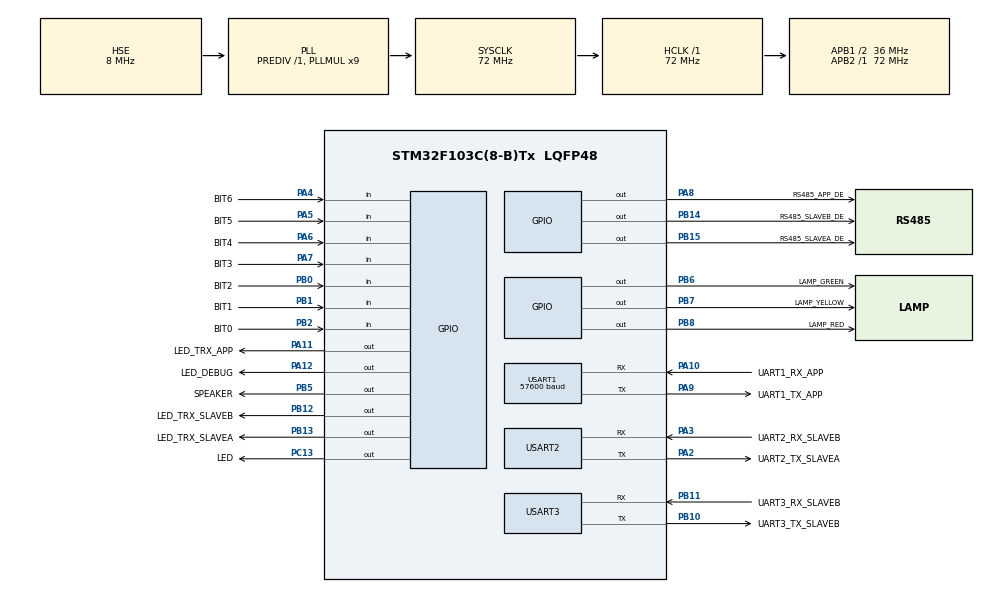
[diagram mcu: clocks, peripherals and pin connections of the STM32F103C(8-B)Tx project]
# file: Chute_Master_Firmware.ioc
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Dma.Request0=USART2_RX
Dma.Request1=USART3_RX
Dma.Request2=USART2_TX
Dma.Request3=USART3_TX
Dma.USART2_RX.0.Direction=DMA_PERIPH_TO_MEMORY
Dma.USART2_RX.0.Instance=DMA1_Channel6
Dma.USART2_RX.0.MemDataAlignment=DMA_MDATAALIGN_BYTE
Dma.USART2_RX.0.MemInc=DMA_MINC_ENABLE
Dma.USART2_RX.0.Mode=DMA_NORMAL
Dma.USART2_RX.0.PeriphDataAlignment=DMA_PDATAALIGN_BYTE
Dma.USART2_RX.0.PeriphInc=DMA_PINC_DISABLE
Dma.USART2_RX.0.Priority=DMA_PRIORITY_LOW
Dma.USART2_TX.2.Direction=DMA_MEMORY_TO_PERIPH
Dma.USART2_TX.2.Instance=DMA1_Channel7
Dma.USART2_TX.2.MemDataAlignment=DMA_MDATAALIGN_BYTE
Dma.USART2_TX.2.MemInc=DMA_MINC_ENABLE
Dma.USART2_TX.2.Mode=DMA_NORMAL
Dma.USART2_TX.2.PeriphDataAlignment=DMA_PDATAALIGN_BYTE
Dma.USART2_TX.2.PeriphInc=DMA_PINC_DISABLE
Dma.USART2_TX.2.Priority=DMA_PRIORITY_LOW
Dma.USART3_RX.1.Direction=DMA_PERIPH_TO_MEMORY
Dma.USART3_RX.1.Instance=DMA1_Channel3
Dma.USART3_RX.1.MemDataAlignment=DMA_MDATAALIGN_BYTE
Dma.USART3_RX.1.MemInc=DMA_MINC_ENABLE
Dma.USART3_RX.1.Mode=DMA_NORMAL
Dma.USART3_RX.1.PeriphDataAlignment=DMA_PDATAALIGN_BYTE
Dma.USART3_RX.1.PeriphInc=DMA_PINC_DISABLE
Dma.USART3_RX.1.Priority=DMA_PRIORITY_LOW
Dma.USART3_TX.3.Direction=DMA_MEMORY_TO_PERIPH
Dma.USART3_TX.3.Instance=DMA1_Channel2
Dma.USART3_TX.3.MemDataAlignment=DMA_MDATAALIGN_BYTE
Dma.USART3_TX.3.MemInc=DMA_MINC_ENABLE
Dma.USART3_TX.3.Mode=DMA_NORMAL
Dma.USART3_TX.3.PeriphDataAlignment=DMA_PDATAALIGN_BYTE
Dma.USART3_TX.3.PeriphInc=DMA_PINC_DISABLE
Dma.USART3_TX.3.Priority=DMA_PRIORITY_LOW
Mcu.Family=STM32F1
Mcu.Name=STM32F103C(8-B)Tx
Mcu.Package=LQFP48
NVIC.DMA1_Channel2_IRQn=true\:0\:0\:false\:false\:true\:false\:true\:true
NVIC.DMA1_Channel3_IRQn=true\:0\:0\:false\:false\:true\:false\:true\:true
NVIC.DMA1_Channel6_IRQn=true\:0\:0\:false\:false\:true\:false\:true\:true
NVIC.DMA1_Channel7_IRQn=true\:0\:0\:false\:false\:true\:false\:true\:true
NVIC.PriorityGroup=NVIC_PRIORITYGROUP_4
NVIC.TIM1_UP_IRQn=true\:0\:0\:false\:false\:true\:true\:true\:true
NVIC.TIM2_IRQn=true\:0\:0\:false\:false\:true\:true\:true\:true
NVIC.USART1_IRQn=true\:0\:0\:false\:false\:true\:true\:true\:true
NVIC.USART2_IRQn=true\:0\:0\:false\:false\:true\:false\:true\:true
NVIC.USART3_IRQn=true\:0\:0\:false\:false\:true\:false\:true\:true
PA10.GPIO_Label=UART1_RX_APP
PA10.Mode=Asynchronous
PA10.Signal=USART1_RX
PA11.GPIO_Label=LED_TRX_APP
PA11.GPIO_Speed=GPIO_SPEED_FREQ_LOW
PA11.Signal=GPIO_Output
PA12.GPIO_Label=LED_DEBUG
PA12.Signal=GPIO_Output
PA13.Mode=Serial_Wire
PA13.Signal=SYS_JTMS-SWDIO
PA14.Mode=Serial_Wire
PA14.Signal=SYS_JTCK-SWCLK
PA2.GPIO_Label=UART2_TX_SLAVEA
PA2.Mode=Asynchronous
PA2.Signal=USART2_TX
PA3.GPIO_Label=UART2_RX_SLAVEB
PA3.Mode=Asynchronous
PA3.Signal=USART2_RX
PA4.GPIO_Label=BIT6
PA4.GPIO_PuPd=GPIO_PULLUP
PA4.Signal=GPIO_Input
PA5.GPIO_Label=BIT5
PA5.GPIO_PuPd=GPIO_PULLUP
PA5.Signal=GPIO_Input
PA6.GPIO_Label=BIT4
PA6.GPIO_PuPd=GPIO_PULLUP
PA6.Signal=GPIO_Input
PA7.GPIO_Label=BIT3
PA7.GPIO_PuPd=GPIO_PULLUP
PA7.Signal=GPIO_Input
PA8.GPIO_Label=RS485_APP_DE
PA8.GPIO_Speed=GPIO_SPEED_FREQ_HIGH
PA8.Signal=GPIO_Output
PA9.GPIO_Label=UART1_TX_APP
PA9.Mode=Asynchronous
PA9.Signal=USART1_TX
PB0.GPIO_Label=BIT2
PB0.GPIO_PuPd=GPIO_PULLUP
PB0.Signal=GPIO_Input
PB1.GPIO_Label=BIT1
PB1.GPIO_PuPd=GPIO_PULLUP
PB1.Signal=GPIO_Input
PB10.GPIO_Label=UART3_TX_SLAVEB
PB10.Mode=Asynchronous
PB10.Signal=USART3_TX
PB11.GPIO_Label=UART3_RX_SLAVEB
PB11.Mode=Asynchronous
PB11.Signal=USART3_RX
PB12.GPIO_Label=LED_TRX_SLAVEB
PB12.Signal=GPIO_Output
PB13.GPIO_Label=LED_TRX_SLAVEA
PB13.Signal=GPIO_Output
PB14.GPIO_Label=RS485_SLAVEB_DE
PB14.GPIO_Speed=GPIO_SPEED_FREQ_HIGH
PB14.Signal=GPIO_Output
PB15.GPIO_Label=RS485_SLAVEA_DE
PB15.GPIO_Speed=GPIO_SPEED_FREQ_HIGH
PB15.Signal=GPIO_Output
PB2.GPIO_Label=BIT0
PB2.GPIO_PuPd=GPIO_PULLUP
PB2.Signal=GPIO_Input
PB5.GPIO_Label=SPEAKER
PB5.Signal=GPIO_Output
PB6.GPIO_Label=LAMP_GREEN
PB6.Signal=GPIO_Output
PB7.GPIO_Label=LAMP_YELLOW
PB7.Signal=GPIO_Output
PB8.GPIO_Label=LAMP_RED
PB8.Signal=GPIO_Output
PC13-TAMPER-RTC.GPIO_Label=LED
PC13-TAMPER-RTC.Signal=GPIO_Output
PD0-OSC_IN.Mode=HSE-External-Oscillator
PD0-OSC_IN.Signal=RCC_OSC_IN
PD1-OSC_OUT.Mode=HSE-External-Oscillator
PD1-OSC_OUT.Signal=RCC_OSC_OUT
ProjectManager.HeapSize=0x200
ProjectManager.StackSize=0x400
ProjectManager.TargetToolchain=MDK-ARM V5.32
RCC.AHBFreq_Value=72000000
RCC.APB1CLKDivider=RCC_HCLK_DIV2
RCC.APB1Freq_Value=36000000
RCC.APB1TimFreq_Value=72000000
RCC.APB2Freq_Value=72000000
RCC.APB2TimFreq_Value=72000000
RCC.HCLKFreq_Value=72000000
RCC.PLLMUL=RCC_PLL_MUL9
RCC.PLLSourceVirtual=RCC_PLLSOURCE_HSE
RCC.SYSCLKFreq_VALUE=72000000
RCC.SYSCLKSource=RCC_SYSCLKSOURCE_PLLCLK
RCC.USBFreq_Value=72000000
TIM1.Period=999
TIM1.Prescaler=71
TIM2.Period=9999
TIM2.Prescaler=7199
USART1.BaudRate=57600
USART1.VirtualMode=VM_ASYNC
USART2.VirtualMode=VM_ASYNC
USART3.VirtualMode=VM_ASYNC
VP_TIM1_VS_ClockSourceINT.Mode=Internal
VP_TIM2_VS_ClockSourceINT.Mode=Internal
board=custom

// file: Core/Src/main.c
/* USER CODE BEGIN Header */
/**
  ******************************************************************************
  * @file           : main.c
  * @brief          : Main program body
  ******************************************************************************
  * @attention
  *
  * Copyright (c) 2025 STMicroelectronics.
  * All rights reserved.
  *
  * This software is licensed under terms that can be found in the LICENSE file
  * in the root directory of this software component.
  * If no LICENSE file comes with this software, it is provided AS-IS.
  *
  ******************************************************************************
  */
/* USER CODE END Header */
#include "main.h"

/* USER CODE BEGIN Includes */

	#include "user.h"

	#include "slave.h"

	#include "app.h"

	#include "string.h"

	#include "stdio.h"

/* USER CODE END Includes */

TIM_HandleTypeDef htim1;
TIM_HandleTypeDef htim2;

UART_HandleTypeDef huart1;
UART_HandleTypeDef huart2;
UART_HandleTypeDef huart3;
DMA_HandleTypeDef hdma_usart2_rx;
DMA_HandleTypeDef hdma_usart2_tx;
DMA_HandleTypeDef hdma_usart3_rx;
DMA_HandleTypeDef hdma_usart3_tx;

/* USER CODE BEGIN PV */

	uint32_t tick_debug = 0;

	uint8_t flag_an_debug = 0;

	volatile uint16_t auto_send = 0;
	uint16_t cycle_auto = 100;
	uint16_t ptr_autosend = 1;

	extern uint8_t TX_toSlave[3];

	extern uint32_t start_send_slave;

	uint32_t db_s = 0, db_i = 0;
	uint16_t db_cnt1 = 0;

	uint16_t db_miss = 0;
	float db_phantram = 0.0f;

	extern uint16_t cnt_flag_config;
	uint8_t TX_config_db[20];

	uint8_t mode_config = 0;

/* USER CODE END PV */

void SystemClock_Config(void);
static void MX_GPIO_Init(void);
static void MX_DMA_Init(void);
static void MX_TIM1_Init(void);
static void MX_USART1_UART_Init(void);
static void MX_USART2_UART_Init(void);
static void MX_USART3_UART_Init(void);
static void MX_TIM2_Init(void);

int main(void)
{

  /* MCU Configuration--------------------------------------------------------*/

  /* Reset of all peripherals, Initializes the Flash interface and the Systick. */
  HAL_Init();

  /* Configure the system clock */
  SystemClock_Config();

  /* Initialize all configured peripherals */
  MX_GPIO_Init();
  MX_DMA_Init();
  MX_TIM1_Init();
  MX_USART1_UART_Init();
  MX_USART2_UART_Init();
  MX_USART3_UART_Init();
  MX_TIM2_Init();
  /* USER CODE BEGIN 2 */

		Master_Init_Func();

		App_Init_Func(&vApp, &huart1);

		HAL_Delay(1500);

		Slave_Init_Func(pSlavePort);

		HAL_TIM_Base_Start_IT(&htim1);
		HAL_TIM_Base_Start_IT(&htim2);

  /* USER CODE END 2 */

  /* Infinite loop */
  while (1)
  {

    /* USER CODE BEGIN 3 */

		tick_debug++;

		Master_Process();

		Debug_Function();

////////		if(flag_an_debug == 1)
////////		{
////////			On_Mode_Send_Slave();
////////			uint8_t addr_arr[15];
////////			memset(addr_arr, ' ',15);
////////			sprintf((char*)addr_arr, "Dong chi so 0%d", 60);
////////
////////			TX_config_db[0] = 0x80 | (2 & 0x3F);
////////			for(uint8_t i=0; i<15; i++)
////////				TX_config_db[i+1] = addr_arr[i];
////////			TX_config_db[16] = mode_config; //0xA6;
////////			TX_config_db[17] = 0xA0;
////////			TX_config_db[18] = 0xA1;
////////			TX_config_db[19] = Cal_CheckSum(TX_config_db, 20);
////////
////////			HAL_UART_Transmit(List_Chute_Arr[2].phuart, TX_config_db, 20, HAL_MAX_DELAY);
////////
////////			On_Mode_Receive_Slave();
////////
////////			flag_an_debug = 0;
////////		}

////////		if(auto_send >= cycle_auto)
////////		{
////////			On_Mode_Send_Slave();
////////			//HAL_Delay(10);
////////			TX_toSlave[0] = (List_Chute_Arr[ptr_autosend].sl_status & SLAVE_STATE_MASK) | (ptr_autosend & 0x3F);
////////			TX_toSlave[1] = List_Chute_Arr[ptr_autosend].cnt_mess_tx;
////////			TX_toSlave[NUM_BYTE_SLAVE-1] = Cal_CheckSum(TX_toSlave, NUM_BYTE_SLAVE);
////////
////////			db_s = getMicroSecond();
////////			start_send_slave = getMicroSecond();
////////			HAL_UART_Transmit_DMA(List_Chute_Arr[ptr_autosend].phuart, TX_toSlave, NUM_BYTE_SLAVE);
////////
////////
////////			//HAL_UART_Transmit(List_Chute_Arr[1].phuart, TX_toSlave, NUM_BYTE_SLAVE, HAL_MAX_DELAY);
////////			//db_i = getMicroSecond() - db_s;
////////
////////			flag_flashLed_debug = true;
////////
////////			flag_wait_sending_slave = true;
////////			List_Chute_Arr[ptr_autosend].cnt_mess_tx++;
////////
////////			db_miss = List_Chute_Arr[ptr_autosend].cnt_mess_tx - 1 - List_Chute_Arr[ptr_autosend].cnt_mess_rx;
////////			db_phantram = (List_Chute_Arr[ptr_autosend].cnt_mess_rx*100)/List_Chute_Arr[ptr_autosend].cnt_mess_tx;
////////
////////			if(++ptr_autosend == NUMBER_SLAVE)
////////				ptr_autosend = 1;
////////
////////			flag_an_debug = 0;
////////			auto_send = 0;
////////		}

		Wait_Send_Slave();

//		db_miss = List_Chute_Arr[1].cnt_mess_tx - 1 - List_Chute_Arr[1].cnt_mess_rx;
//		db_phantram = (List_Chute_Arr[1].cnt_mess_rx*100)/List_Chute_Arr[1].cnt_mess_tx;
//		List_Chute_Arr[vSL_Ptr].cnt_mess_miss = List_Chute_Arr[vSL_Ptr].cnt_mess_tx - List_Chute_Arr[vSL_Ptr].cnt_mess_rx;
//		List_Chute_Arr[vSL_Ptr].ratio_miss = (float)(List_Chute_Arr[vSL_Ptr].cnt_mess_rx*100)/(float)List_Chute_Arr[vSL_Ptr].cnt_mess_tx;
  }
  /* USER CODE END 3 */
}

void SystemClock_Config(void)
{
  RCC_OscInitTypeDef RCC_OscInitStruct = {0};
  RCC_ClkInitTypeDef RCC_ClkInitStruct = {0};

  /** Initializes the RCC Oscillators according to the specified parameters
  * in the RCC_OscInitTypeDef structure.
  */
  RCC_OscInitStruct.OscillatorType = RCC_OSCILLATORTYPE_HSE;
  RCC_OscInitStruct.HSEState = RCC_HSE_ON;
  RCC_OscInitStruct.HSEPredivValue = RCC_HSE_PREDIV_DIV1;
  RCC_OscInitStruct.HSIState = RCC_HSI_ON;
  RCC_OscInitStruct.PLL.PLLState = RCC_PLL_ON;
  RCC_OscInitStruct.PLL.PLLSource = RCC_PLLSOURCE_HSE;
  RCC_OscInitStruct.PLL.PLLMUL = RCC_PLL_MUL9;
  if (HAL_RCC_OscConfig(&RCC_OscInitStruct) != HAL_OK)
  {
    Error_Handler();
  }

  /** Initializes the CPU, AHB and APB buses clocks
  */
  RCC_ClkInitStruct.ClockType = RCC_CLOCKTYPE_HCLK|RCC_CLOCKTYPE_SYSCLK
                              |RCC_CLOCKTYPE_PCLK1|RCC_CLOCKTYPE_PCLK2;
  RCC_ClkInitStruct.SYSCLKSource = RCC_SYSCLKSOURCE_PLLCLK;
  RCC_ClkInitStruct.AHBCLKDivider = RCC_SYSCLK_DIV1;
  RCC_ClkInitStruct.APB1CLKDivider = RCC_HCLK_DIV2;
  RCC_ClkInitStruct.APB2CLKDivider = RCC_HCLK_DIV1;

  if (HAL_RCC_ClockConfig(&RCC_ClkInitStruct, FLASH_LATENCY_2) != HAL_OK)
  {
    Error_Handler();
  }
}

static void MX_TIM1_Init(void)
{

  TIM_ClockConfigTypeDef sClockSourceConfig = {0};
  TIM_MasterConfigTypeDef sMasterConfig = {0};

  htim1.Instance = TIM1;
  htim1.Init.Prescaler = 71;
  htim1.Init.CounterMode = TIM_COUNTERMODE_UP;
  htim1.Init.Period = 999;
  htim1.Init.ClockDivision = TIM_CLOCKDIVISION_DIV1;
  htim1.Init.RepetitionCounter = 0;
  htim1.Init.AutoReloadPreload = TIM_AUTORELOAD_PRELOAD_DISABLE;
  if (HAL_TIM_Base_Init(&htim1) != HAL_OK)
  {
    Error_Handler();
  }
  sClockSourceConfig.ClockSource = TIM_CLOCKSOURCE_INTERNAL;
  if (HAL_TIM_ConfigClockSource(&htim1, &sClockSourceConfig) != HAL_OK)
  {
    Error_Handler();
  }
  sMasterConfig.MasterOutputTrigger = TIM_TRGO_RESET;
  sMasterConfig.MasterSlaveMode = TIM_MASTERSLAVEMODE_DISABLE;
  if (HAL_TIMEx_MasterConfigSynchronization(&htim1, &sMasterConfig) != HAL_OK)
  {
    Error_Handler();
  }

}

static void MX_TIM2_Init(void)
{

  TIM_ClockConfigTypeDef sClockSourceConfig = {0};
  TIM_MasterConfigTypeDef sMasterConfig = {0};

  htim2.Instance = TIM2;
  htim2.Init.Prescaler = 7199;
  htim2.Init.CounterMode = TIM_COUNTERMODE_UP;
  htim2.Init.Period = 9999;
  htim2.Init.ClockDivision = TIM_CLOCKDIVISION_DIV1;
  htim2.Init.AutoReloadPreload = TIM_AUTORELOAD_PRELOAD_DISABLE;
  if (HAL_TIM_Base_Init(&htim2) != HAL_OK)
  {
    Error_Handler();
  }
  sClockSourceConfig.ClockSource = TIM_CLOCKSOURCE_INTERNAL;
  if (HAL_TIM_ConfigClockSource(&htim2, &sClockSourceConfig) != HAL_OK)
  {
    Error_Handler();
  }
  sMasterConfig.MasterOutputTrigger = TIM_TRGO_RESET;
  sMasterConfig.MasterSlaveMode = TIM_MASTERSLAVEMODE_DISABLE;
  if (HAL_TIMEx_MasterConfigSynchronization(&htim2, &sMasterConfig) != HAL_OK)
  {
    Error_Handler();
  }

}

static void MX_USART1_UART_Init(void)
{

  huart1.Instance = USART1;
  huart1.Init.BaudRate = 57600;
  huart1.Init.WordLength = UART_WORDLENGTH_8B;
  huart1.Init.StopBits = UART_STOPBITS_1;
  huart1.Init.Parity = UART_PARITY_NONE;
  huart1.Init.Mode = UART_MODE_TX_RX;
  huart1.Init.HwFlowCtl = UART_HWCONTROL_NONE;
  huart1.Init.OverSampling = UART_OVERSAMPLING_16;
  if (HAL_UART_Init(&huart1) != HAL_OK)
  {
    Error_Handler();
  }

}

static void MX_USART2_UART_Init(void)
{

  huart2.Instance = USART2;
  huart2.Init.BaudRate = 57600;
  huart2.Init.WordLength = UART_WORDLENGTH_8B;
  huart2.Init.StopBits = UART_STOPBITS_1;
  huart2.Init.Parity = UART_PARITY_NONE;
  huart2.Init.Mode = UART_MODE_TX_RX;
  huart2.Init.HwFlowCtl = UART_HWCONTROL_NONE;
  huart2.Init.OverSampling = UART_OVERSAMPLING_16;
  if (HAL_UART_Init(&huart2) != HAL_OK)
  {
    Error_Handler();
  }

}

static void MX_USART3_UART_Init(void)
{

  huart3.Instance = USART3;
  huart3.Init.BaudRate = 57600;
  huart3.Init.WordLength = UART_WORDLENGTH_8B;
  huart3.Init.StopBits = UART_STOPBITS_1;
  huart3.Init.Parity = UART_PARITY_NONE;
  huart3.Init.Mode = UART_MODE_TX_RX;
  huart3.Init.HwFlowCtl = UART_HWCONTROL_NONE;
  huart3.Init.OverSampling = UART_OVERSAMPLING_16;
  if (HAL_UART_Init(&huart3) != HAL_OK)
  {
    Error_Handler();
  }

}

static void MX_DMA_Init(void)
{

  /* DMA controller clock enable */
  __HAL_RCC_DMA1_CLK_ENABLE();

  /* DMA interrupt init */
  /* DMA1_Channel2_IRQn interrupt configuration */
  HAL_NVIC_SetPriority(DMA1_Channel2_IRQn, 0, 0);
  HAL_NVIC_EnableIRQ(DMA1_Channel2_IRQn);
  /* DMA1_Channel3_IRQn interrupt configuration */
  HAL_NVIC_SetPriority(DMA1_Channel3_IRQn, 0, 0);
  HAL_NVIC_EnableIRQ(DMA1_Channel3_IRQn);
  /* DMA1_Channel6_IRQn interrupt configuration */
  HAL_NVIC_SetPriority(DMA1_Channel6_IRQn, 0, 0);
  HAL_NVIC_EnableIRQ(DMA1_Channel6_IRQn);
  /* DMA1_Channel7_IRQn interrupt configuration */
  HAL_NVIC_SetPriority(DMA1_Channel7_IRQn, 0, 0);
  HAL_NVIC_EnableIRQ(DMA1_Channel7_IRQn);

}

static void MX_GPIO_Init(void)
{
  GPIO_InitTypeDef GPIO_InitStruct = {0};

  /* GPIO Ports Clock Enable */
  __HAL_RCC_GPIOC_CLK_ENABLE();
  __HAL_RCC_GPIOD_CLK_ENABLE();
  __HAL_RCC_GPIOA_CLK_ENABLE();
  __HAL_RCC_GPIOB_CLK_ENABLE();

  /*Configure GPIO pin Output Level */
  HAL_GPIO_WritePin(LED_GPIO_Port, LED_Pin, GPIO_PIN_RESET);

  /*Configure GPIO pin Output Level */
  HAL_GPIO_WritePin(GPIOB, LED_TRX_SLAVEB_Pin|LED_TRX_SLAVEA_Pin|RS485_SLAVEB_DE_Pin|RS485_SLAVEA_DE_Pin
                          |SPEAKER_Pin|LAMP_GREEN_Pin|LAMP_YELLOW_Pin|LAMP_RED_Pin, GPIO_PIN_RESET);

  /*Configure GPIO pin Output Level */
  HAL_GPIO_WritePin(GPIOA, RS485_APP_DE_Pin|LED_TRX_APP_Pin|LED_DEBUG_Pin, GPIO_PIN_RESET);

  /*Configure GPIO pin : LED_Pin */
  GPIO_InitStruct.Pin = LED_Pin;
  GPIO_InitStruct.Mode = GPIO_MODE_OUTPUT_PP;
  GPIO_InitStruct.Pull = GPIO_NOPULL;
  GPIO_InitStruct.Speed = GPIO_SPEED_FREQ_LOW;
  HAL_GPIO_Init(LED_GPIO_Port, &GPIO_InitStruct);

  /*Configure GPIO pins : BIT6_Pin BIT5_Pin BIT4_Pin BIT3_Pin */
  GPIO_InitStruct.Pin = BIT6_Pin|BIT5_Pin|BIT4_Pin|BIT3_Pin;
  GPIO_InitStruct.Mode = GPIO_MODE_INPUT;
  GPIO_InitStruct.Pull = GPIO_PULLUP;
  HAL_GPIO_Init(GPIOA, &GPIO_InitStruct);

  /*Configure GPIO pins : BIT2_Pin BIT1_Pin BIT0_Pin */
  GPIO_InitStruct.Pin = BIT2_Pin|BIT1_Pin|BIT0_Pin;
  GPIO_InitStruct.Mode = GPIO_MODE_INPUT;
  GPIO_InitStruct.Pull = GPIO_PULLUP;
  HAL_GPIO_Init(GPIOB, &GPIO_InitStruct);

  /*Configure GPIO pins : LED_TRX_SLAVEB_Pin LED_TRX_SLAVEA_Pin SPEAKER_Pin LAMP_GREEN_Pin
                           LAMP_YELLOW_Pin LAMP_RED_Pin */
  GPIO_InitStruct.Pin = LED_TRX_SLAVEB_Pin|LED_TRX_SLAVEA_Pin|SPEAKER_Pin|LAMP_GREEN_Pin
                          |LAMP_YELLOW_Pin|LAMP_RED_Pin;
  GPIO_InitStruct.Mode = GPIO_MODE_OUTPUT_PP;
  GPIO_InitStruct.Pull = GPIO_NOPULL;
  GPIO_InitStruct.Speed = GPIO_SPEED_FREQ_LOW;
  HAL_GPIO_Init(GPIOB, &GPIO_InitStruct);

  /*Configure GPIO pins : RS485_SLAVEB_DE_Pin RS485_SLAVEA_DE_Pin */
  GPIO_InitStruct.Pin = RS485_SLAVEB_DE_Pin|RS485_SLAVEA_DE_Pin;
  GPIO_InitStruct.Mode = GPIO_MODE_OUTPUT_PP;
  GPIO_InitStruct.Pull = GPIO_NOPULL;
  GPIO_InitStruct.Speed = GPIO_SPEED_FREQ_HIGH;
  HAL_GPIO_Init(GPIOB, &GPIO_InitStruct);

  /*Configure GPIO pin : RS485_APP_DE_Pin */
  GPIO_InitStruct.Pin = RS485_APP_DE_Pin;
  GPIO_InitStruct.Mode = GPIO_MODE_OUTPUT_PP;
  GPIO_InitStruct.Pull = GPIO_NOPULL;
  GPIO_InitStruct.Speed = GPIO_SPEED_FREQ_HIGH;
  HAL_GPIO_Init(RS485_APP_DE_GPIO_Port, &GPIO_InitStruct);

  /*Configure GPIO pins : LED_TRX_APP_Pin LED_DEBUG_Pin */
  GPIO_InitStruct.Pin = LED_TRX_APP_Pin|LED_DEBUG_Pin;
  GPIO_InitStruct.Mode = GPIO_MODE_OUTPUT_PP;
  GPIO_InitStruct.Pull = GPIO_NOPULL;
  GPIO_InitStruct.Speed = GPIO_SPEED_FREQ_LOW;
  HAL_GPIO_Init(GPIOA, &GPIO_InitStruct);

}

void Error_Handler(void)
{
  __disable_irq();
  while (1)
  {
  }
}
